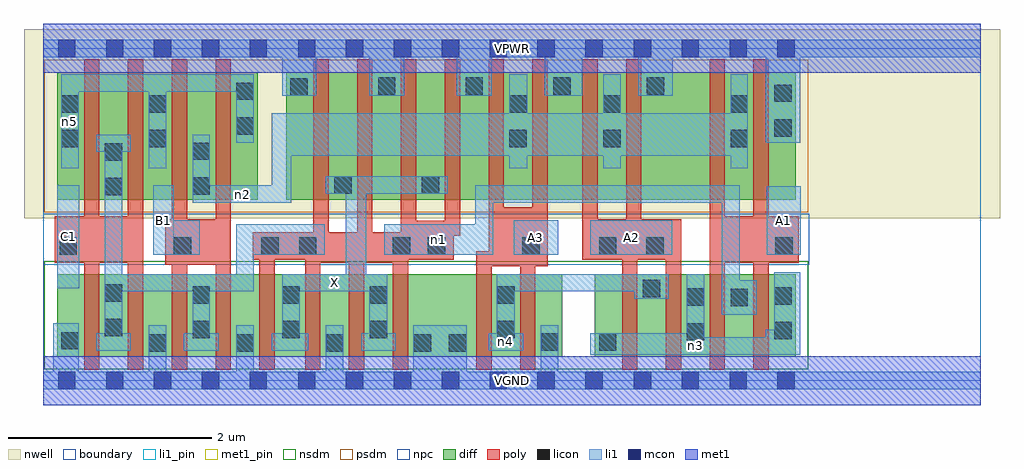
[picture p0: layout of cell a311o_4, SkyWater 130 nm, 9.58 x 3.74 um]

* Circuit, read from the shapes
.subckt a311o_4 A1 A2 A3 B1 C1 VGND VPWR X n1 n2 n3 n4 n5
XM1 n1 C1 VGND VSUBS sky130_fd_pr__nfet_01v8 w=0.81 l=0.15 m=2
XM2 n1 B1 VGND VSUBS sky130_fd_pr__nfet_01v8 w=0.81 l=0.15 m=2
XM3 X n1 VGND VSUBS sky130_fd_pr__nfet_01v8 w=0.81 l=0.15 m=4
XM4 n4 A3 VGND VSUBS sky130_fd_pr__nfet_01v8 w=0.81 l=0.15 m=2
XM5 n4 A2 n3 VSUBS sky130_fd_pr__nfet_01v8 w=0.81 l=0.15 m=2
XM6 n1 A1 n3 VSUBS sky130_fd_pr__nfet_01v8 w=0.81 l=0.15 m=2
XM7 n1 C1 n5 n6 sky130_fd_pr__pfet_01v8 w=1.25 l=0.15 m=2
XM8 n2 B1 n5 n6 sky130_fd_pr__pfet_01v8 w=1.25 l=0.15 m=2
XM9 X n1 VPWR n6 sky130_fd_pr__pfet_01v8 w=1.25 l=0.15 m=4
XM10 n2 A3 VPWR n6 sky130_fd_pr__pfet_01v8 w=1.25 l=0.15 m=2
XM11 n2 A2 VPWR n6 sky130_fd_pr__pfet_01v8 w=1.25 l=0.15 m=2
XM12 n2 A1 VPWR n6 sky130_fd_pr__pfet_01v8 w=1.25 l=0.15 m=2
.ends

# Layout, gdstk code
import gdstk
lib = gdstk.Library(unit=1e-6, precision=1e-09)
def R(c, l, rs):  # rectangles x0, y0, x1, y1
    for r in rs: c.add(gdstk.rectangle(r[:2], r[2:], *l))
def A(c, l, x, y, w, h, nx, ny, dx, dy):  # array of equal rectangles
    R(c, l, [(x+i*dx, y+j*dy, x+i*dx+w, y+j*dy+h) for i in range(nx) for j in range(ny)])
nwell = (64, 20)
diff = (65, 20)
poly = (66, 20)
licon = (66, 44)
li1_pin = (67, 16)
li1 = (67, 20)
mcon = (67, 44)
met1_pin = (68, 16)
met1 = (68, 20)
nsdm = (93, 44)
psdm = (94, 20)
npc = (95, 20)
boundary = (235, 4)

a311o_4 = lib.new_cell('a311o_4')
R(a311o_4, nwell, [(-0.19,1.595,9.39,3.45), (0,1.595,9.2,3.45)])
R(a311o_4, diff, [(0.135,0.235,5.095,1.045), (5.41,0.235,7.385,1.045), (0.135,1.775,2.105,3.025), (2.385,1.775,7.385,3.025)])
A(a311o_4, poly, 0.4, 0.105, 0.15, 3.05, 4, 1, 0.43, 0)
A(a311o_4, poly, 2.57, 0.105, 0.15, 1.35, 3, 1, 0.43, 0)
R(a311o_4, poly, [(2.12,0.105,2.27,1.455), (4.25,0.105,4.4,1.27), (4.68,0.105,4.83,1.7), (5.68,0.105,5.83,1.585), (6.11,0.105,6.26,1.585), (6.54,0.105,6.69,3.155), (6.97,0.105,7.12,3.155), (4.37,1.12,4.95,1.7), (4.37,1.12,4.52,3.155), (4.8,1.12,4.95,3.155), (1.195,1.135,1.84,1.585), (0.11,1.155,0.98,1.615), (2.57,1.155,3.58,1.455), (2.65,1.155,2.8,3.155), (3.08,1.155,3.23,3.155), (6.54,1.155,7.415,1.615), (2.055,1.185,4.03,1.455), (3.51,1.185,3.66,3.155), (5.29,1.185,5.44,3.155), (5.29,1.185,6.26,1.585), (5.72,1.185,5.87,3.155), (3.51,1.42,4.09,1.57), (3.94,1.57,4.09,3.155)])
A(a311o_4, licon, 3.285, 2.805, 0.17, 0.17, 3, 1, 0.86, 0)
R(a311o_4, licon, [(1.035,0.285,1.205,0.455), (1.895,0.285,2.065,0.455), (2.775,0.285,2.945,0.455), (3.635,0.285,3.805,0.455), (3.98,0.285,4.15,0.455), (4.885,0.295,5.055,0.465), (5.455,0.295,5.625,0.465), (0.175,0.305,0.345,0.475), (6.315,0.395,6.485,0.565), (7.175,0.405,7.345,0.575), (1.465,0.415,1.635,0.585), (2.345,0.415,2.515,0.585), (3.205,0.415,3.375,0.585), (4.455,0.415,4.625,0.585), (0.605,0.435,0.775,0.605), (6.745,0.73,6.915,0.9), (6.315,0.735,6.485,0.905), (7.175,0.745,7.345,0.915), (1.465,0.755,1.635,0.925), (2.345,0.755,2.515,0.925), (3.205,0.755,3.375,0.925), (4.455,0.755,4.625,0.925), (0.605,0.775,0.775,0.945), (5.885,0.82,6.055,0.99), (0.16,1.235,0.33,1.405), (1.28,1.235,1.45,1.405), (2.14,1.235,2.31,1.405), (2.51,1.235,2.68,1.405), (3.43,1.235,3.6,1.405), (3.775,1.235,3.945,1.405), (4.7,1.235,4.87,1.405), (5.455,1.235,5.625,1.405), (5.92,1.235,6.09,1.405), (7.185,1.235,7.355,1.405), (0.605,1.82,0.775,1.99), (1.465,1.825,1.635,1.995), (2.855,1.835,3.025,2.005), (3.715,1.835,3.885,2.005), (0.605,2.16,0.775,2.33), (1.465,2.165,1.635,2.335), (0.175,2.29,0.345,2.46), (1.035,2.29,1.205,2.46), (4.575,2.29,4.745,2.46), (5.495,2.29,5.665,2.46), (6.745,2.29,6.915,2.46), (7.175,2.395,7.345,2.565), (1.895,2.415,2.065,2.585), (0.175,2.63,0.345,2.8), (1.035,2.63,1.205,2.8), (4.575,2.63,4.745,2.8), (5.495,2.63,5.665,2.8), (6.745,2.63,6.915,2.8), (7.175,2.735,7.345,2.905), (1.895,2.755,2.065,2.925), (2.425,2.795,2.595,2.965), (5.925,2.805,6.095,2.975)])
R(a311o_4, li1_pin, [(2.345,0.875,3.375,1.045), (0.135,0.905,0.35,1.915), (1.08,1.235,1.28,1.915), (4.615,1.235,5.055,1.575), (5.37,1.235,6.175,1.575), (7.1,1.235,7.435,1.905)])
R(a311o_4, li1, [(0,-0.085,9.2,0.085), (0.095,-0.085,0.345,0.565), (1.035,-0.085,1.205,0.545), (1.895,-0.085,2.065,0.545), (2.77,-0.085,2.945,0.545), (3.63,-0.085,4.155,0.545), (4.88,-0.085,5.055,0.545), (5.37,0.255,7.43,0.425), (5.37,0.255,6.485,0.465), (6.315,0.255,6.485,1.045), (7.09,0.255,7.43,0.5), (7.175,0.255,7.43,1.065), (0.52,0.295,0.86,0.465), (0.605,0.295,0.775,2.415), (1.38,0.295,1.72,0.465), (1.465,0.295,1.635,1.045), (2.24,0.295,2.6,0.465), (2.345,0.295,2.515,1.045), (3.12,0.295,3.46,0.465), (3.2,0.295,3.375,1.045), (4.37,0.295,4.71,0.465), (4.45,0.295,4.625,1.045), (6.66,0.645,6.835,1.915), (6.66,0.645,7,0.985), (5.8,0.805,6.14,1.045), (0.605,0.875,2.065,1.045), (1.895,0.875,2.065,1.535), (2.345,0.875,3.375,1.045), (2.97,0.875,3.17,2.005), (4.45,0.875,6.14,1.045), (0.135,0.905,0.35,1.915), (1.08,1.235,1.28,1.915), (1.08,1.235,1.535,1.575), (1.895,1.235,2.76,1.535), (3.345,1.235,4.415,1.535), (4.24,1.235,4.415,1.915), (4.615,1.235,5.055,1.575), (5.37,1.235,6.175,1.575), (7.1,1.235,7.435,1.905), (1.465,1.745,1.635,2.415), (1.465,1.745,2.435,1.915), (2.24,1.745,2.435,2.625), (4.24,1.745,6.835,1.915), (2.77,1.835,3.97,2.005), (0.175,2.085,0.345,3.005), (1.035,2.085,1.205,3.005), (4.575,2.085,4.75,3.005), (5.495,2.085,5.665,3.005), (6.745,2.085,6.915,3.005), (2.24,2.205,6.915,2.625), (0.52,2.245,0.86,2.415), (1.895,2.335,2.065,3.005), (7.09,2.335,7.43,3.345), (2.345,2.795,2.68,3.345), (3.2,2.795,3.54,3.345), (4.06,2.795,4.4,3.345), (4.92,2.795,5.29,3.345), (5.84,2.795,6.18,3.345), (0.175,2.835,2.065,3.005), (0,3.175,9.2,3.345)])
A(a311o_4, mcon, 0.145, -0.085, 0.17, 0.17, 5, 2, 0.47, 3.26)
A(a311o_4, mcon, 2.5, -0.085, 0.17, 0.17, 7, 2, 0.47, 3.26)
A(a311o_4, mcon, 5.795, -0.085, 0.17, 0.17, 4, 2, 0.47, 3.26)
R(a311o_4, met1_pin, [(0,-0.24,9.2,0.24), (0,3.02,9.2,3.5)])
R(a311o_4, met1, [(0,-0.24,9.2,0.24), (0,3.02,9.2,3.5)])
R(a311o_4, nsdm, [(0.01,0.11,7.51,1.17)])
R(a311o_4, psdm, [(0.01,1.65,7.51,3.15)])
R(a311o_4, npc, [(0,1.135,7.52,1.635)])
R(a311o_4, boundary, [(0,0,9.2,3.26)])
a311o_4.add(gdstk.Label('A1', (7.267,1.57), layer=67, texttype=5))
a311o_4.add(gdstk.Label('A2', (5.772,1.405), layer=67, texttype=5))
a311o_4.add(gdstk.Label('A3', (4.835,1.405), layer=67, texttype=5))
a311o_4.add(gdstk.Label('B1', (1.18,1.575), layer=67, texttype=5))
a311o_4.add(gdstk.Label('C1', (0.242,1.41), layer=67, texttype=5))
a311o_4.add(gdstk.Label('X', (2.86,0.96), layer=67, texttype=5))
a311o_4.add(gdstk.Label('n4', (4.54,0.38), layer=67, texttype=5))
a311o_4.add(gdstk.Label('n3', (6.4,0.34), layer=67, texttype=5))
a311o_4.add(gdstk.Label('n1', (3.88,1.385), layer=67, texttype=5))
a311o_4.add(gdstk.Label('n5', (0.26,2.545), layer=67, texttype=5))
a311o_4.add(gdstk.Label('n2', (1.95,1.83), layer=67, texttype=5))
a311o_4.add(gdstk.Label('VPWR', (4.6,3.26), layer=68, texttype=5))
a311o_4.add(gdstk.Label('VGND', (4.6,0), layer=68, texttype=5))
a311o_4.add(gdstk.Label('A1', (7.267,1.57), layer=67, texttype=16))
a311o_4.add(gdstk.Label('A2', (5.772,1.405), layer=67, texttype=16))
a311o_4.add(gdstk.Label('A3', (4.835,1.405), layer=67, texttype=16))
a311o_4.add(gdstk.Label('B1', (1.18,1.575), layer=67, texttype=16))
a311o_4.add(gdstk.Label('C1', (0.242,1.41), layer=67, texttype=16))
a311o_4.add(gdstk.Label('X', (2.86,0.96), layer=67, texttype=16))
a311o_4.add(gdstk.Label('VPWR', (4.6,3.26), layer=68, texttype=16))
a311o_4.add(gdstk.Label('VGND', (4.6,0), layer=68, texttype=16))

lib.write_gds('a311o_4.gds')
